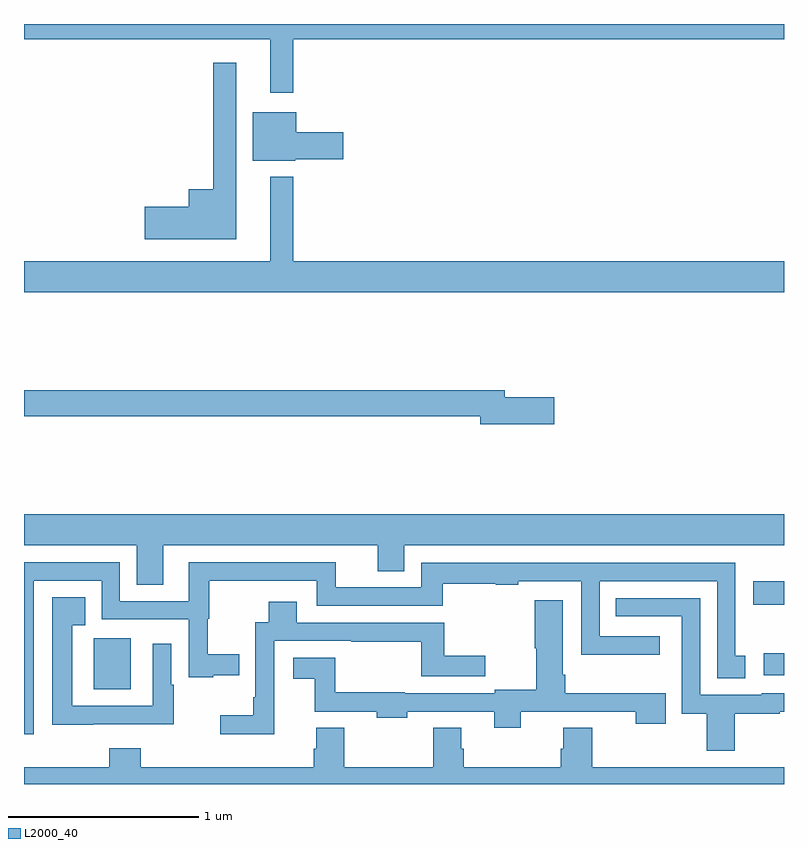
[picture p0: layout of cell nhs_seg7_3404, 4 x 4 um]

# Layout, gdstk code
import gdstk
lib = gdstk.Library(unit=1e-6, precision=1e-09)
def R(c, l, rs):  # rectangles x0, y0, x1, y1
    for r in rs: c.add(gdstk.rectangle(r[:2], r[2:], *l))
def P(c, l, *ps):  # polygons
    for p in ps: c.add(gdstk.Polygon(p, *l))
L2000_40 = (2000, 40)

nhs_seg7_3404 = lib.new_cell('nhs_seg7_3404')
R(nhs_seg7_3404, L2000_40, [(327.368,1026.5,327.562,1026.768), (330.894,1026.573,331,1026.688), (330.837,1026.944,331,1027.066)])
P(nhs_seg7_3404, L2000_40, [(331,1030),(327,1030),(327,1029.92),(328.295,1029.92),(328.295,1029.639),(328.417,1029.639),(328.417,1029.92),(331,1029.92)],
  [(328.117,1029.796),(327.996,1029.796),(327.996,1029.13),(327.866,1029.13),(327.866,1029.038),(327.636,1029.038),(327.636,1028.867),(328.117,1028.867)],
  [(328.428,1029.287),(328.681,1029.287),(328.681,1029.429),(328.432,1029.429),(328.432,1029.535),(328.205,1029.535),(328.205,1029.281),(328.428,1029.281)],
  [(331,1028.752),(328.417,1028.752),(328.417,1029.196),(328.295,1029.196),(328.295,1028.752),(327,1028.752),(327,1028.588),(331,1028.588)],
  [(329.791,1028.036),(329.53,1028.036),(329.53,1028.072),(327,1028.072),(327,1027.936),(329.402,1027.936),(329.402,1027.894),(329.791,1027.894)],
  [(327.733,1027.256),(328.862,1027.256),(328.862,1027.12),(329.002,1027.12),(329.002,1027.256),(331,1027.256),(331,1027.42),(327,1027.42),(327,1027.256),(327.593,1027.256),(327.593,1027.048),(327.733,1027.048)],
  [(327.051,1027.071),(327.408,1027.071),(327.408,1026.867),(327.867,1026.867),(327.867,1026.561),(327.995,1026.561),(327.995,1026.572),(328.132,1026.572),(328.132,1026.682),(327.966,1026.682),(327.966,1026.87),(327.976,1026.87),(327.976,1027.069),(328.199,1027.069),(328.199,1027.071),(328.542,1027.071),(328.542,1026.939),(329.203,1026.939),(329.203,1027.055),(329.484,1027.055),(329.484,1027.048),(329.6,1027.048),(329.6,1027.068),(329.934,1027.068),(329.934,1026.68),(330.346,1026.68),(330.346,1026.777),(330.03,1026.777),(330.03,1027.068),(330.648,1027.068),(330.648,1026.556),(330.796,1026.556),(330.796,1026.675),(330.744,1026.675),(330.744,1027.164),(329.091,1027.164),(329.091,1027.035),(328.641,1027.035),(328.641,1027.167),(327.866,1027.167),(327.866,1026.963),(327.504,1026.963),(327.504,1027.167),(327,1027.167),(327,1026.261),(327.051,1026.261)],
  [(327.365,1026.315),(327.787,1026.315),(327.787,1026.522),(327.774,1026.522),(327.774,1026.739),(327.678,1026.739),(327.678,1026.411),(327.253,1026.411),(327.253,1026.836),(327.323,1026.836),(327.323,1026.982),(327.149,1026.982),(327.149,1026.313),(327.365,1026.313)],
  [(330.741,1026.37),(330.978,1026.37),(330.978,1026.381),(331,1026.381),(331,1026.477),(330.882,1026.477),(330.882,1026.471),(330.558,1026.471),(330.558,1026.978),(330.115,1026.978),(330.115,1026.882),(330.462,1026.882),(330.462,1026.37),(330.593,1026.37),(330.593,1026.174),(330.741,1026.174)],
  [(329.614,1026.381),(330.221,1026.381),(330.221,1026.318),(330.377,1026.318),(330.377,1026.477),(330.269,1026.477),(330.269,1026.478),(329.849,1026.478),(329.849,1026.574),(329.836,1026.574),(329.836,1026.967),(329.689,1026.967),(329.689,1026.714),(329.696,1026.714),(329.696,1026.497),(329.478,1026.497),(329.478,1026.477),(329.004,1026.477),(329.004,1026.482),(328.639,1026.482),(328.639,1026.664),(328.416,1026.664),(328.416,1026.554),(328.529,1026.554),(328.529,1026.381),(328.856,1026.381),(328.856,1026.35),(329.016,1026.35),(329.016,1026.381),(329.474,1026.381),(329.474,1026.296),(329.614,1026.296)],
  [(328.316,1026.753),(328.723,1026.753),(328.723,1026.748),(329.091,1026.748),(329.091,1026.567),(329.428,1026.567),(329.428,1026.676),(329.212,1026.676),(329.212,1026.849),(328.435,1026.849),(328.435,1026.958),(328.288,1026.958),(328.288,1026.852),(328.218,1026.852),(328.218,1026.457),(328.206,1026.457),(328.206,1026.362),(328.032,1026.362),(328.032,1026.263),(328.316,1026.263)],
  [(331,1026.088),(329.99,1026.088),(329.99,1026.296),(329.837,1026.296),(329.837,1026.186),(329.825,1026.186),(329.825,1026.088),(329.315,1026.088),(329.315,1026.186),(329.302,1026.186),(329.302,1026.296),(329.155,1026.296),(329.155,1026.088),(328.686,1026.088),(328.686,1026.296),(328.538,1026.296),(328.538,1026.186),(328.526,1026.186),(328.526,1026.088),(327.614,1026.088),(327.614,1026.187),(327.449,1026.187),(327.449,1026.088),(327,1026.088),(327,1026),(331,1026)])

lib.write_gds('nhs_seg7_3404.gds')
